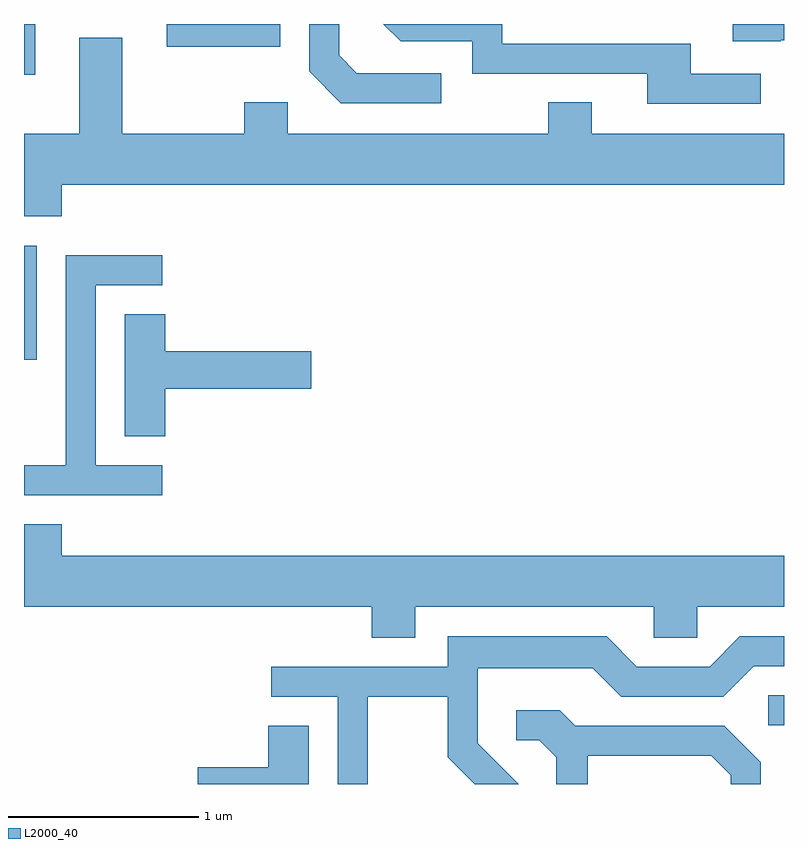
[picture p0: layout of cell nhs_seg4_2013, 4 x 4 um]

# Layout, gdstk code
import gdstk
lib = gdstk.Library(unit=1e-6, precision=1e-09)
def R(c, l, rs):  # rectangles x0, y0, x1, y1
    for r in rs: c.add(gdstk.rectangle(r[:2], r[2:], *l))
def P(c, l, *ps):  # polygons
    for p in ps: c.add(gdstk.Polygon(p, *l))
L2000_40 = (2000, 40)

nhs_seg4_2013 = lib.new_cell('nhs_seg4_2013')
R(nhs_seg4_2013, L2000_40, [(247.528,1336.291,247.611,1336.449), (243.611,1338.216,243.679,1338.814), (243.611,1339.716,243.669,1339.982), (244.361,1339.861,244.959,1339.982)])
P(nhs_seg4_2013, L2000_40, [(247.488,1339.719),(247.119,1339.719),(247.119,1339.879),(246.129,1339.879),(246.129,1339.982),(245.503,1339.982),(245.594,1339.891),(245.971,1339.891),(245.971,1339.721),(246.891,1339.721),(246.891,1339.561),(247.488,1339.561)],
  [(245.808,1339.724),(245.362,1339.724),(245.269,1339.817),(245.269,1339.982),(245.111,1339.982),(245.111,1339.734),(245.279,1339.566),(245.808,1339.566)],
  [(247.595,1339.896),(247.611,1339.896),(247.611,1339.982),(247.341,1339.982),(247.341,1339.891),(247.595,1339.891)],
  [(243.809,1339.136),(247.611,1339.136),(247.611,1339.404),(246.599,1339.404),(246.599,1339.569),(246.371,1339.569),(246.371,1339.404),(244.999,1339.404),(244.999,1339.569),(244.771,1339.569),(244.771,1339.404),(244.129,1339.404),(244.129,1339.909),(243.901,1339.909),(243.901,1339.404),(243.611,1339.404),(243.611,1338.971),(243.809,1338.971)],
  [(244.338,1337.659),(243.989,1337.659),(243.989,1338.606),(244.338,1338.606),(244.338,1338.764),(243.831,1338.764),(243.831,1337.659),(243.611,1337.659),(243.611,1337.501),(244.338,1337.501)],
  [(244.354,1338.061),(245.124,1338.061),(245.124,1338.259),(244.354,1338.259),(244.354,1338.454),(244.141,1338.454),(244.141,1337.811),(244.354,1337.811)],
  [(245.669,1336.916),(246.926,1336.916),(246.926,1336.751),(247.154,1336.751),(247.154,1336.916),(247.611,1336.916),(247.611,1337.184),(243.809,1337.184),(243.809,1337.349),(243.611,1337.349),(243.611,1336.916),(245.441,1336.916),(245.441,1336.751),(245.669,1336.751)],
  [(245.419,1336.441),(245.841,1336.441),(245.841,1336.124),(245.983,1335.982),(246.214,1335.982),(245.999,1336.197),(245.999,1336.591),(246.604,1336.591),(246.754,1336.441),(247.292,1336.441),(247.452,1336.601),(247.611,1336.601),(247.611,1336.759),(247.379,1336.759),(247.219,1336.599),(246.837,1336.599),(246.677,1336.759),(245.841,1336.759),(245.841,1336.599),(244.913,1336.599),(244.913,1336.441),(245.261,1336.441),(245.261,1335.982),(245.419,1335.982)],
  [(246.579,1336.131),(247.229,1336.131),(247.331,1336.029),(247.331,1335.982),(247.489,1335.982),(247.489,1336.097),(247.297,1336.289),(246.512,1336.289),(246.432,1336.369),(246.203,1336.369),(246.203,1336.211),(246.324,1336.211),(246.411,1336.124),(246.411,1335.982),(246.579,1335.982)],
  [(245.109,1336.289),(244.896,1336.289),(244.896,1336.069),(244.526,1336.069),(244.526,1335.982),(245.109,1335.982)])

lib.write_gds('nhs_seg4_2013.gds')
